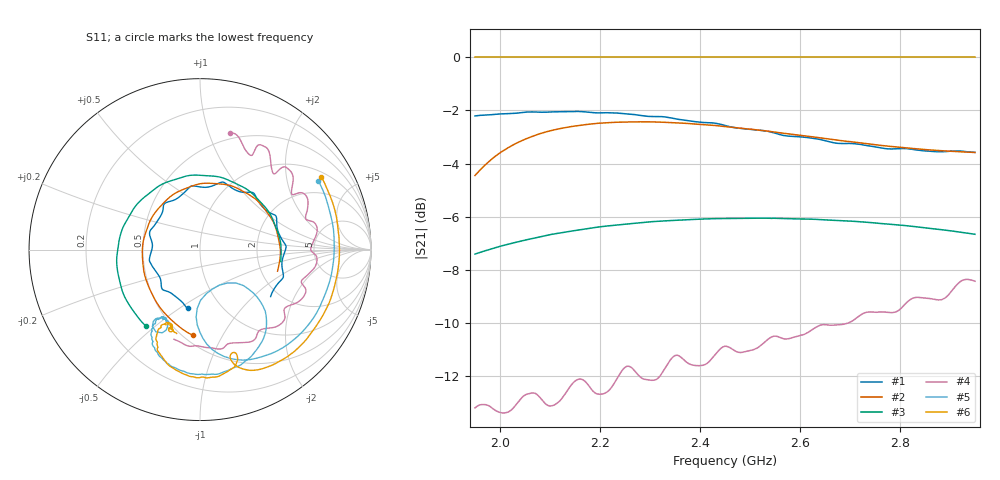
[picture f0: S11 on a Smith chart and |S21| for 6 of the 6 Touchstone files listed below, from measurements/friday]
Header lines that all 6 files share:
!Agilent N9923A: A.07.32
!Model: N9923A
!Serial: MY52412257
!GPS Latitude:
!GPS Longitude:
!GPS TimeStamp: 0001-01-01 00:00:00Z
!GPS Seconds Since Last Read: 0
!S2P File: Measurements:S11,S21,S12,S22:
# Hz S DB R 50
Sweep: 1.95 GHz to 2.95 GHz
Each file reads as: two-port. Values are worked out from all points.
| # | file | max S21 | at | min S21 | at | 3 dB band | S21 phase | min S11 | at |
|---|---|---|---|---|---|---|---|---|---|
| 1 | AutoSave21.s2p | -2.04 dB | 2.153 GHz | -3.6 dB | 2.95 GHz | 1.95 GHz-2.95 GHz | 94 deg at 2.45 GHz | -11.1 dB | 2.19 GHz |
| 2 | AutoSave22.s2p | -2.43 dB | 2.29 GHz | -4.4 dB | 1.95 GHz | 1.95 GHz-2.95 GHz | 83 deg at 2.45 GHz | -9.6 dB | 2.27 GHz |
| 3 | AutoSave23.s2p | -6.05 dB | 2.513 GHz | -7.4 dB | 1.95 GHz | 1.95 GHz-2.95 GHz | 85 deg at 2.45 GHz | -7.3 dB | 2.56 GHz |
| 4 | AutoSave24.s2p | -8.35 dB | 2.933 GHz | -13.4 dB | 2.007 GHz | 2.423 GHz-2.95 GHz | 42 deg at 2.45 GHz | -5.3 dB | 2.95 GHz |
| 5 | AutoSave218.s2p | 0.00 dB | 1.95 GHz | 0.0 dB | 1.95 GHz | 1.95 GHz-2.95 GHz | 0 deg at 2.45 GHz | -12.5 dB | 2.11 GHz |
| 6 | AutoSave220.s2p | 0.00 dB | 1.95 GHz | 0.0 dB | 1.95 GHz | 1.95 GHz-2.95 GHz | 0 deg at 2.45 GHz | -6.7 dB | 2.637 GHz |
